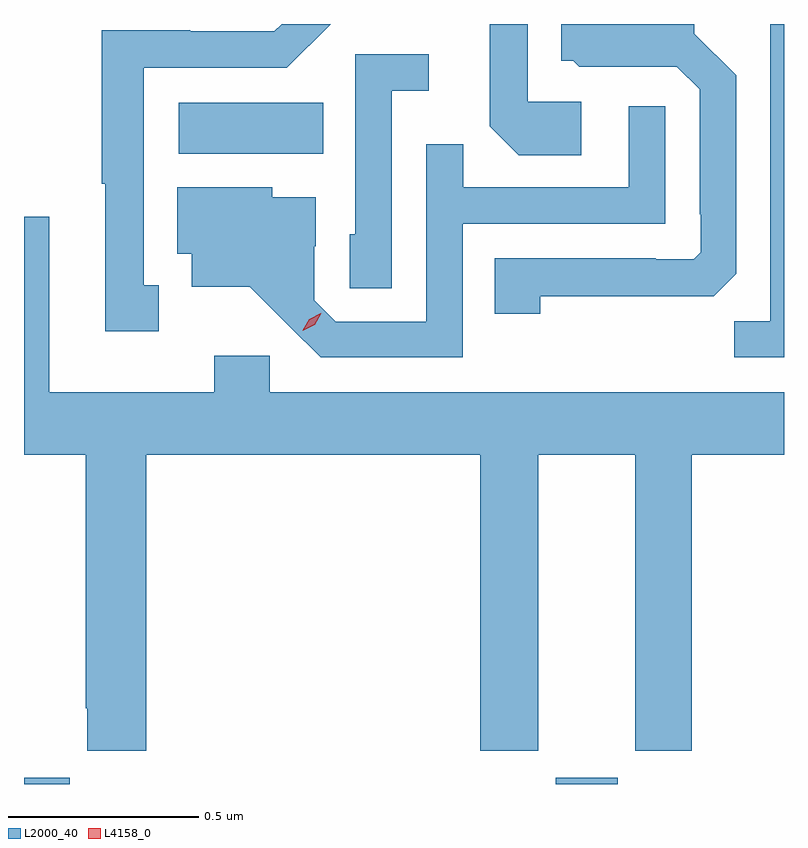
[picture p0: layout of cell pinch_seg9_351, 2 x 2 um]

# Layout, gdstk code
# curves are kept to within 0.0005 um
import gdstk
lib = gdstk.Library(unit=1e-6, precision=1e-09)
def R(c, l, rs):  # rectangles x0, y0, x1, y1
    for r in rs: c.add(gdstk.rectangle(r[:2], r[2:], *l))
def P(c, l, *ps):  # polygons
    for p in ps: c.add(gdstk.Polygon(p, *l))
L2000_40 = (2000, 40)
L4158_0 = (4158, 0)

pinch_seg9_351 = lib.new_cell('pinch_seg9_351')
R(pinch_seg9_351, L2000_40, [(635.581,1179.569,635.701,1179.586), (636.98,1179.569,637.144,1179.585), (635.988,1181.228,636.368,1181.362)])
P(pinch_seg9_351, L2000_40, [(636.939,1180.852),(637.295,1180.852),(637.295,1180.853),(637.396,1180.853),(637.455,1180.912),(637.455,1181.434),(637.345,1181.544),(637.345,1181.569),(636.995,1181.569),(636.995,1181.472),(637.026,1181.472),(637.042,1181.456),(637.176,1181.456),(637.176,1181.457),(637.299,1181.457),(637.359,1181.397),(637.359,1181.068),(637.362,1181.068),(637.362,1180.968),(637.344,1180.95),(637.244,1180.95),(637.244,1180.953),(636.82,1180.953),(636.82,1180.806),(636.939,1180.806)],
  [(637.048,1181.364),(636.906,1181.364),(636.906,1181.569),(636.713,1181.569),(636.713,1181.568),(636.807,1181.568),(636.807,1181.3),(636.883,1181.224),(637.048,1181.224)],
  [(635.935,1180.881),(635.896,1180.881),(635.896,1181.454),(636.273,1181.454),(636.388,1181.569),(636.259,1181.569),(636.24,1181.55),(636.018,1181.55),(636.018,1181.552),(635.785,1181.552),(635.785,1181.149),(635.795,1181.149),(635.795,1180.761),(635.935,1180.761)],
  [(637.581,1181.569),(637.545,1181.569),(637.545,1180.787),(637.45,1180.787),(637.45,1180.692),(637.581,1180.692)],
  [(636.549,1181.393),(636.646,1181.393),(636.646,1181.49),(636.453,1181.49),(636.453,1181.016),(636.438,1181.016),(636.438,1180.873),(636.549,1180.873)],
  [(636.735,1181.043),(637.269,1181.043),(637.269,1181.353),(637.173,1181.353),(637.173,1181.139),(636.737,1181.139),(636.737,1181.252),(636.639,1181.252),(636.639,1180.785),(636.402,1180.785),(636.345,1180.842),(636.345,1180.984),(636.349,1180.984),(636.349,1181.113),(636.234,1181.113),(636.234,1181.14),(635.984,1181.14),(635.984,1180.964),(636.023,1180.964),(636.023,1180.877),(636.175,1180.877),(636.362,1180.692),(636.735,1180.692)],
  [(635.903,1180.436),(636.782,1180.436),(636.782,1179.657),(636.934,1179.657),(636.934,1180.436),(637.19,1180.436),(637.19,1179.657),(637.338,1179.657),(637.338,1180.436),(637.581,1180.436),(637.581,1180.6),(636.228,1180.6),(636.228,1180.696),(636.082,1180.696),(636.082,1180.6),(635.647,1180.6),(635.647,1181.062),(635.581,1181.062),(635.581,1180.436),(635.743,1180.436),(635.743,1179.769),(635.747,1179.769),(635.747,1179.657),(635.903,1179.657)])
P(pinch_seg9_351, L4158_0, [(636.315,1180.762),(636.315,1180.763),(636.332,1180.792),(636.362,1180.808),(636.363,1180.808),(636.363,1180.808),(636.346,1180.778),(636.315,1180.762)])

lib.write_gds('pinch_seg9_351.gds')
